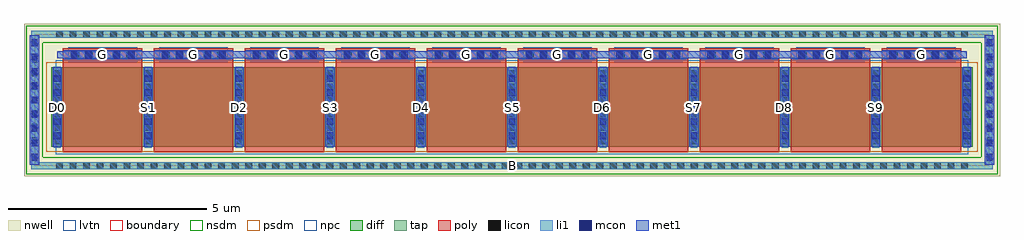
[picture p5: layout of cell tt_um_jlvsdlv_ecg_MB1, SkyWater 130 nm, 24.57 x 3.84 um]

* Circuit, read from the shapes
.subckt tt_um_jlvsdlv_ecg_MB1 B D0 D2 D4 D6 D8 G S1 S3 S5 S7 S9
XM1 S1 G D0 B sky130_fd_pr__pfet_01v8_lvt w=2 l=2
XM2 D2 G S1 B sky130_fd_pr__pfet_01v8_lvt w=2 l=2
XM3 S3 G D2 B sky130_fd_pr__pfet_01v8_lvt w=2 l=2
XM4 D4 G S3 B sky130_fd_pr__pfet_01v8_lvt w=2 l=2
XM5 S5 G D4 B sky130_fd_pr__pfet_01v8_lvt w=2 l=2
XM6 D6 G S5 B sky130_fd_pr__pfet_01v8_lvt w=2 l=2
XM7 S7 G D6 B sky130_fd_pr__pfet_01v8_lvt w=2 l=2
XM8 D8 G S7 B sky130_fd_pr__pfet_01v8_lvt w=2 l=2
XM9 S9 G D8 B sky130_fd_pr__pfet_01v8_lvt w=2 l=2
XM10 n1 G S9 B sky130_fd_pr__pfet_01v8_lvt w=2 l=2
.ends

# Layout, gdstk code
import gdstk
lib = gdstk.Library(unit=1e-6, precision=1e-09)
def R(c, l, rs):  # rectangles x0, y0, x1, y1
    for r in rs: c.add(gdstk.rectangle(r[:2], r[2:], *l))
def A(c, l, x, y, w, h, nx, ny, dx, dy):  # array of equal rectangles
    R(c, l, [(x+i*dx, y+j*dy, x+i*dx+w, y+j*dy+h) for i in range(nx) for j in range(ny)])
nwell = (64, 20)
diff = (65, 20)
tap = (65, 44)
poly = (66, 20)
licon = (66, 44)
li1 = (67, 20)
mcon = (67, 44)
met1 = (68, 20)
nsdm = (93, 44)
psdm = (94, 20)
npc = (95, 20)
lvtn = (125, 44)
boundary = (235, 4)

tt_um_jlvsdlv_ecg_mb1 = lib.new_cell('tt_um_jlvsdlv_ecg_MB1')
R(tt_um_jlvsdlv_ecg_mb1, nwell, [(-12.285,-1.92,12.285,1.92)])
R(tt_um_jlvsdlv_ecg_mb1, diff, [(-11.595,-1.18,11.595,0.82)])
R(tt_um_jlvsdlv_ecg_mb1, tap, [(-12.105,-1.74,12.105,-1.57), (-12.105,-1.57,-11.935,1.57), (11.935,-1.57,12.105,1.57), (-12.105,1.57,12.105,1.74)])
A(tt_um_jlvsdlv_ecg_mb1, poly, -11.305, -1.31, 2, 2.615, 10, 1, 2.29, 0)
A(tt_um_jlvsdlv_ecg_mb1, licon, -11.475, -1.74, 0.17, 0.17, 68, 2, 0.34, 3.31)
A(tt_um_jlvsdlv_ecg_mb1, licon, -11.535, -1.115, 0.17, 0.17, 11, 6, 2.29, 0.34)
A(tt_um_jlvsdlv_ecg_mb1, licon, -12.105, -1.105, 0.17, 0.17, 1, 7, 0, 0.34)
A(tt_um_jlvsdlv_ecg_mb1, licon, 11.935, -1.105, 0.17, 0.17, 1, 7, 0, 0.34)
A(tt_um_jlvsdlv_ecg_mb1, licon, -11.07, 1.055, 0.17, 0.17, 5, 1, 0.34, 0)
A(tt_um_jlvsdlv_ecg_mb1, licon, -8.78, 1.055, 0.17, 0.17, 5, 1, 0.34, 0)
A(tt_um_jlvsdlv_ecg_mb1, licon, -6.49, 1.055, 0.17, 0.17, 5, 1, 0.34, 0)
A(tt_um_jlvsdlv_ecg_mb1, licon, -4.2, 1.055, 0.17, 0.17, 5, 1, 0.34, 0)
A(tt_um_jlvsdlv_ecg_mb1, licon, -1.91, 1.055, 0.17, 0.17, 5, 1, 0.34, 0)
A(tt_um_jlvsdlv_ecg_mb1, licon, 0.38, 1.055, 0.17, 0.17, 5, 1, 0.34, 0)
A(tt_um_jlvsdlv_ecg_mb1, licon, 2.67, 1.055, 0.17, 0.17, 5, 1, 0.34, 0)
A(tt_um_jlvsdlv_ecg_mb1, licon, 4.96, 1.055, 0.17, 0.17, 5, 1, 0.34, 0)
A(tt_um_jlvsdlv_ecg_mb1, licon, 7.25, 1.055, 0.17, 0.17, 5, 1, 0.34, 0)
A(tt_um_jlvsdlv_ecg_mb1, licon, 9.54, 1.055, 0.17, 0.17, 5, 1, 0.34, 0)
A(tt_um_jlvsdlv_ecg_mb1, li1, -11.535, -1.2, 0.17, 2.04, 11, 1, 2.29, 0)
R(tt_um_jlvsdlv_ecg_mb1, li1, [(-12.105,-1.74,12.105,-1.57), (-12.105,-1.57,-11.935,1.57), (11.935,-1.57,12.105,1.57), (-11.45,1.055,11.45,1.225), (-12.105,1.57,12.105,1.74)])
A(tt_um_jlvsdlv_ecg_mb1, mcon, -12.105, -1.525, 0.17, 0.17, 1, 9, 0, 0.36)
A(tt_um_jlvsdlv_ecg_mb1, mcon, 11.935, -1.525, 0.17, 0.17, 1, 9, 0, 0.36)
A(tt_um_jlvsdlv_ecg_mb1, mcon, -11.535, -0.985, 0.17, 0.17, 11, 5, 2.29, 0.36)
A(tt_um_jlvsdlv_ecg_mb1, mcon, -11.11, 1.055, 0.17, 0.17, 5, 1, 0.36, 0)
A(tt_um_jlvsdlv_ecg_mb1, mcon, -8.82, 1.055, 0.17, 0.17, 5, 1, 0.36, 0)
A(tt_um_jlvsdlv_ecg_mb1, mcon, -6.53, 1.055, 0.17, 0.17, 5, 1, 0.36, 0)
A(tt_um_jlvsdlv_ecg_mb1, mcon, -4.24, 1.055, 0.17, 0.17, 5, 1, 0.36, 0)
A(tt_um_jlvsdlv_ecg_mb1, mcon, -1.95, 1.055, 0.17, 0.17, 5, 1, 0.36, 0)
A(tt_um_jlvsdlv_ecg_mb1, mcon, 0.34, 1.055, 0.17, 0.17, 5, 1, 0.36, 0)
A(tt_um_jlvsdlv_ecg_mb1, mcon, 2.63, 1.055, 0.17, 0.17, 5, 1, 0.36, 0)
A(tt_um_jlvsdlv_ecg_mb1, mcon, 4.92, 1.055, 0.17, 0.17, 5, 1, 0.36, 0)
A(tt_um_jlvsdlv_ecg_mb1, mcon, 7.21, 1.055, 0.17, 0.17, 5, 1, 0.36, 0)
A(tt_um_jlvsdlv_ecg_mb1, mcon, 9.5, 1.055, 0.17, 0.17, 5, 1, 0.36, 0)
A(tt_um_jlvsdlv_ecg_mb1, met1, -11.565, -1.18, 0.23, 2, 11, 1, 2.29, 0)
A(tt_um_jlvsdlv_ecg_mb1, met1, -11.285, 1.025, 1.96, 0.03, 10, 2, 2.29, 0.2)
R(tt_um_jlvsdlv_ecg_mb1, met1, [(-12.135,-1.63,-11.905,1.63), (11.905,-1.63,12.135,1.63), (-11.45,1.055,11.45,1.225)])
R(tt_um_jlvsdlv_ecg_mb1, nsdm, [(-12.23,-1.865,12.23,-1.445), (-12.23,-1.445,-11.81,1.445), (11.81,-1.445,12.23,1.445), (-12.23,1.445,12.23,1.865)])
R(tt_um_jlvsdlv_ecg_mb1, psdm, [(-11.72,-1.305,11.72,0.945)])
A(tt_um_jlvsdlv_ecg_mb1, npc, -11.17, 0.955, 1.73, 0.37, 10, 1, 2.29, 0)
R(tt_um_jlvsdlv_ecg_mb1, lvtn, [(-11.485,-1.36,11.485,1)])
R(tt_um_jlvsdlv_ecg_mb1, boundary, [(-12.02,-1.655,12.02,1.655)])
tt_um_jlvsdlv_ecg_mb1.add(gdstk.Label('B', (0,-1.655), layer=67, texttype=5))
tt_um_jlvsdlv_ecg_mb1.add(gdstk.Label('D0', (-11.45,-0.18), layer=67, texttype=5))
tt_um_jlvsdlv_ecg_mb1.add(gdstk.Label('G', (10.305,1.14), layer=67, texttype=5))
tt_um_jlvsdlv_ecg_mb1.add(gdstk.Label('G', (8.015,1.14), layer=67, texttype=5))
tt_um_jlvsdlv_ecg_mb1.add(gdstk.Label('G', (5.725,1.14), layer=67, texttype=5))
tt_um_jlvsdlv_ecg_mb1.add(gdstk.Label('G', (3.435,1.14), layer=67, texttype=5))
tt_um_jlvsdlv_ecg_mb1.add(gdstk.Label('G', (1.145,1.14), layer=67, texttype=5))
tt_um_jlvsdlv_ecg_mb1.add(gdstk.Label('G', (-1.145,1.14), layer=67, texttype=5))
tt_um_jlvsdlv_ecg_mb1.add(gdstk.Label('G', (-3.435,1.14), layer=67, texttype=5))
tt_um_jlvsdlv_ecg_mb1.add(gdstk.Label('G', (-5.725,1.14), layer=67, texttype=5))
tt_um_jlvsdlv_ecg_mb1.add(gdstk.Label('G', (-8.015,1.14), layer=67, texttype=5))
tt_um_jlvsdlv_ecg_mb1.add(gdstk.Label('G', (-10.305,1.14), layer=67, texttype=5))
tt_um_jlvsdlv_ecg_mb1.add(gdstk.Label('S1', (-9.16,-0.18), layer=67, texttype=5))
tt_um_jlvsdlv_ecg_mb1.add(gdstk.Label('D2', (-6.87,-0.18), layer=67, texttype=5))
tt_um_jlvsdlv_ecg_mb1.add(gdstk.Label('S3', (-4.58,-0.18), layer=67, texttype=5))
tt_um_jlvsdlv_ecg_mb1.add(gdstk.Label('D4', (-2.29,-0.18), layer=67, texttype=5))
tt_um_jlvsdlv_ecg_mb1.add(gdstk.Label('S5', (0,-0.18), layer=67, texttype=5))
tt_um_jlvsdlv_ecg_mb1.add(gdstk.Label('D6', (2.29,-0.18), layer=67, texttype=5))
tt_um_jlvsdlv_ecg_mb1.add(gdstk.Label('S7', (4.58,-0.18), layer=67, texttype=5))
tt_um_jlvsdlv_ecg_mb1.add(gdstk.Label('D8', (6.87,-0.18), layer=67, texttype=5))
tt_um_jlvsdlv_ecg_mb1.add(gdstk.Label('S9', (9.16,-0.18), layer=67, texttype=5))

lib.write_gds('tt_um_jlvsdlv_ecg_MB1.gds')
